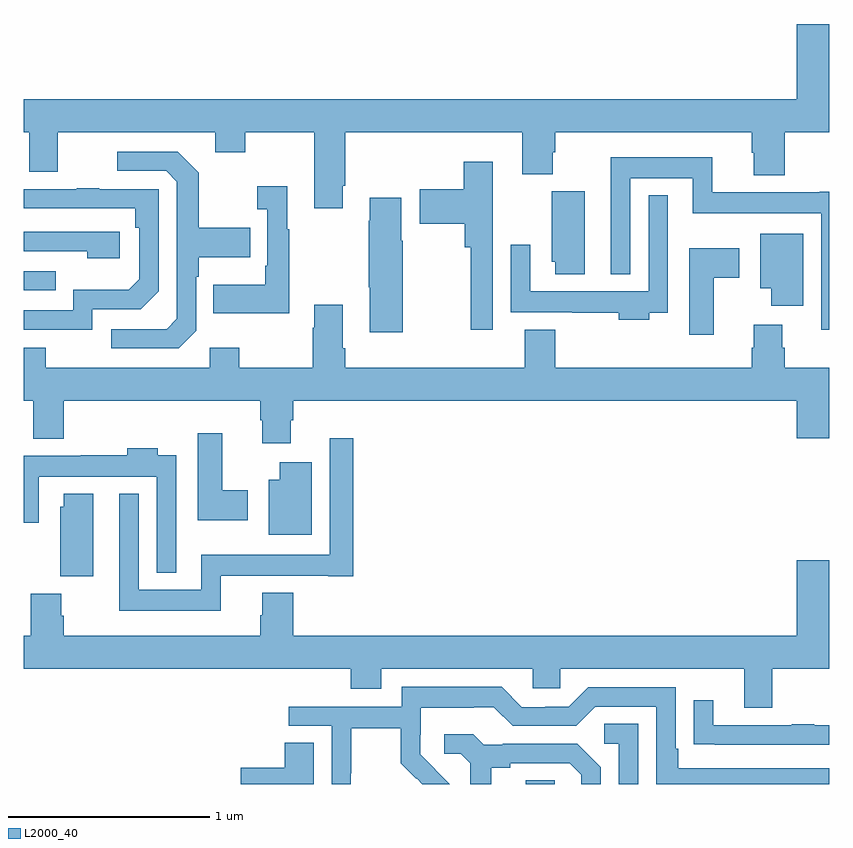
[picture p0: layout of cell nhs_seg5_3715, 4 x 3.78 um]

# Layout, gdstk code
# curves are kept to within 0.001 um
import gdstk
lib = gdstk.Library(unit=1e-6, precision=1e-09)
def R(c, l, rs):  # rectangles x0, y0, x1, y1
    for r in rs: c.add(gdstk.rectangle(r[:2], r[2:], *l))
def P(c, l, *ps):  # polygons
    for p in ps: c.add(gdstk.Polygon(p, *l))
L2000_40 = (2000, 40)

nhs_seg5_3715 = lib.new_cell('nhs_seg5_3715')
R(nhs_seg5_3715, L2000_40, [(331.493,910.799,331.638,910.817), (329,913.251,329.159,913.347)])
P(nhs_seg5_3715, L2000_40, [(330.583,913.771),(330.596,913.771),(330.596,914.036),(331.475,914.036),(331.475,913.828),(331.627,913.828),(331.627,913.937),(331.64,913.937),(331.64,914.036),(332.615,914.036),(332.615,913.935),(332.627,913.935),(332.627,913.823),(332.78,913.823),(332.78,914.036),(333,914.036),(333,914.575),(332.84,914.575),(332.84,914.2),(329,914.2),(329,914.036),(329.027,914.036),(329.027,913.842),(329.167,913.842),(329.167,914.036),(329.951,914.036),(329.951,913.937),(330.099,913.937),(330.099,914.036),(330.443,914.036),(330.443,913.659),(330.583,913.659)],
  [(329.856,913.05),(329.856,913.319),(329.869,913.319),(329.869,913.415),(330.125,913.415),(330.125,913.563),(329.869,913.563),(329.869,913.835),(329.763,913.941),(329.463,913.941),(329.463,913.845),(329.706,913.845),(329.76,913.791),(329.76,913.11),(329.709,913.059),(329.433,913.059),(329.433,912.963),(329.769,912.963)],
  [(333,913.741),(332.954,913.741),(332.954,913.738),(332.42,913.738),(332.42,913.912),(331.916,913.912),(331.916,913.331),(332.013,913.331),(332.013,913.808),(332.322,913.808),(332.322,913.634),(332.961,913.634),(332.961,913.056),(333,913.056)],
  [(331.329,913.599),(331.33,913.599),(331.33,913.891),(331.184,913.891),(331.184,913.753),(330.966,913.753),(330.966,913.583),(331.189,913.583),(331.189,913.466),(331.221,913.466),(331.221,913.056),(331.329,913.056)],
  [(330.319,913.555),(330.307,913.555),(330.307,913.768),(330.159,913.768),(330.159,913.655),(330.21,913.655),(330.21,913.375),(330.198,913.375),(330.198,913.279),(329.941,913.279),(329.941,913.139),(330.319,913.139)],
  [(329.34,913.158),(329.58,913.158),(329.67,913.248),(329.67,913.755),(329.375,913.755),(329.375,913.76),(329.263,913.76),(329.263,913.755),(329,913.755),(329,913.659),(329.554,913.659),(329.554,913.562),(329.574,913.562),(329.574,913.308),(329.521,913.255),(329.244,913.255),(329.244,913.152),(329,913.152),(329,913.056),(329.34,913.056)],
  [(331.786,913.743),(331.622,913.743),(331.622,913.395),(331.64,913.395),(331.64,913.332),(331.786,913.332)],
  [(332.107,913.14),(332.199,913.14),(332.199,913.723),(332.103,913.723),(332.103,913.246),(331.515,913.246),(331.515,913.477),(331.419,913.477),(331.419,913.142),(331.723,913.142),(331.723,913.14),(331.955,913.14),(331.955,913.106),(332.107,913.106)],
  [(330.882,913.498),(330.874,913.498),(330.874,913.711),(330.719,913.711),(330.719,913.598),(330.712,913.598),(330.712,913.267),(330.719,913.267),(330.719,913.044),(330.882,913.044)],
  [(329.476,913.542),(329,913.542),(329,913.446),(329.315,913.446),(329.315,913.412),(329.476,913.412)],
  [(332.872,913.534),(332.657,913.534),(332.657,913.262),(332.714,913.262),(332.714,913.176),(332.872,913.176)],
  [(332.428,913.315),(332.554,913.315),(332.554,913.462),(332.306,913.462),(332.306,913.032),(332.428,913.032)],
  [(330.325,912.606),(330.338,912.606),(330.338,912.704),(332.84,912.704),(332.84,912.516),(333,912.516),(333,912.868),(332.78,912.868),(332.78,912.966),(332.767,912.966),(332.767,913.081),(332.627,913.081),(332.627,912.966),(332.615,912.966),(332.615,912.868),(331.64,912.868),(331.64,913.057),(331.487,913.057),(331.487,912.868),(330.596,912.868),(330.596,912.964),(330.583,912.964),(330.583,913.18),(330.443,913.18),(330.443,913.067),(330.436,913.067),(330.436,912.868),(330.069,912.868),(330.069,912.967),(329.922,912.967),(329.922,912.868),(329.109,912.868),(329.109,912.967),(329,912.967),(329,912.704),(329.045,912.704),(329.045,912.515),(329.198,912.515),(329.198,912.704),(330.173,912.704),(330.173,912.606),(330.185,912.606),(330.185,912.492),(330.325,912.492)],
  [(330.112,912.258),(329.986,912.258),(329.986,912.541),(329.864,912.541),(329.864,912.11),(330.112,912.11)],
  [(329.978,911.834),(330.512,911.834),(330.512,911.832),(330.635,911.832),(330.635,912.517),(330.519,912.517),(330.519,911.938),(329.88,911.938),(329.88,911.764),(329.571,911.764),(329.571,912.241),(329.474,912.241),(329.474,911.66),(329.978,911.66)],
  [(329.757,912.433),(329.665,912.433),(329.665,912.466),(329.513,912.466),(329.513,912.433),(329.281,912.433),(329.281,912.43),(329,912.43),(329,912.096),(329.073,912.096),(329.073,912.326),(329.661,912.326),(329.661,911.849),(329.757,911.849)],
  [(330.43,912.397),(330.272,912.397),(330.272,912.31),(330.215,912.31),(330.215,912.038),(330.43,912.038)],
  [(329.344,912.241),(329.198,912.241),(329.198,912.177),(329.18,912.177),(329.18,911.83),(329.344,911.83)],
  [(332.719,911.372),(333,911.372),(333,911.911),(332.84,911.911),(332.84,911.536),(330.338,911.536),(330.338,911.749),(330.185,911.749),(330.185,911.637),(330.173,911.637),(330.173,911.536),(329.198,911.536),(329.198,911.636),(329.185,911.636),(329.185,911.745),(329.033,911.745),(329.033,911.536),(329,911.536),(329,911.372),(330.623,911.372),(330.623,911.273),(330.775,911.273),(330.775,911.372),(331.527,911.372),(331.527,911.274),(331.665,911.274),(331.665,911.372),(332.579,911.372),(332.579,911.178),(332.719,911.178)],
  [(330.624,910.852),(330.627,910.852),(330.627,911.076),(330.871,911.076),(330.871,910.901),(330.948,910.824),(330.951,910.827),(330.979,910.799),(331.115,910.799),(330.97,910.946),(330.97,911.043),(330.972,911.043),(330.972,911.177),(331.235,911.177),(331.235,911.181),(331.335,911.181),(331.428,911.088),(331.743,911.088),(331.839,911.184),(332.142,911.184),(332.142,910.799),(333,910.799),(333,910.878),(332.251,910.878),(332.251,910.975),(332.238,910.975),(332.238,911.28),(331.803,911.28),(331.707,911.184),(331.589,911.184),(331.589,911.181),(331.473,911.181),(331.373,911.281),(330.876,911.281),(330.876,911.184),(330.315,911.184),(330.315,911.088),(330.528,911.088),(330.528,910.799),(330.624,910.799)],
  [(333,911.091),(332.927,911.091),(332.927,911.096),(332.815,911.096),(332.815,911.091),(332.425,911.091),(332.425,911.215),(332.329,911.215),(332.329,910.996),(332.431,910.996),(332.431,910.995),(333,910.995)],
  [(332.052,911.099),(331.884,911.099),(331.884,910.998),(331.956,910.998),(331.956,910.799),(332.052,910.799)],
  [(331.321,910.88),(331.417,910.88),(331.417,910.902),(331.712,910.902),(331.769,910.845),(331.769,910.799),(331.866,910.799),(331.866,910.882),(331.75,910.998),(331.378,910.998),(331.378,910.995),(331.284,910.995),(331.232,911.047),(331.089,911.047),(331.089,910.95),(331.17,910.95),(331.217,910.903),(331.217,910.799),(331.321,910.799)],
  [(330.439,911.003),(330.296,911.003),(330.296,910.88),(330.078,910.88),(330.078,910.799),(330.439,910.799)])

lib.write_gds('nhs_seg5_3715.gds')
